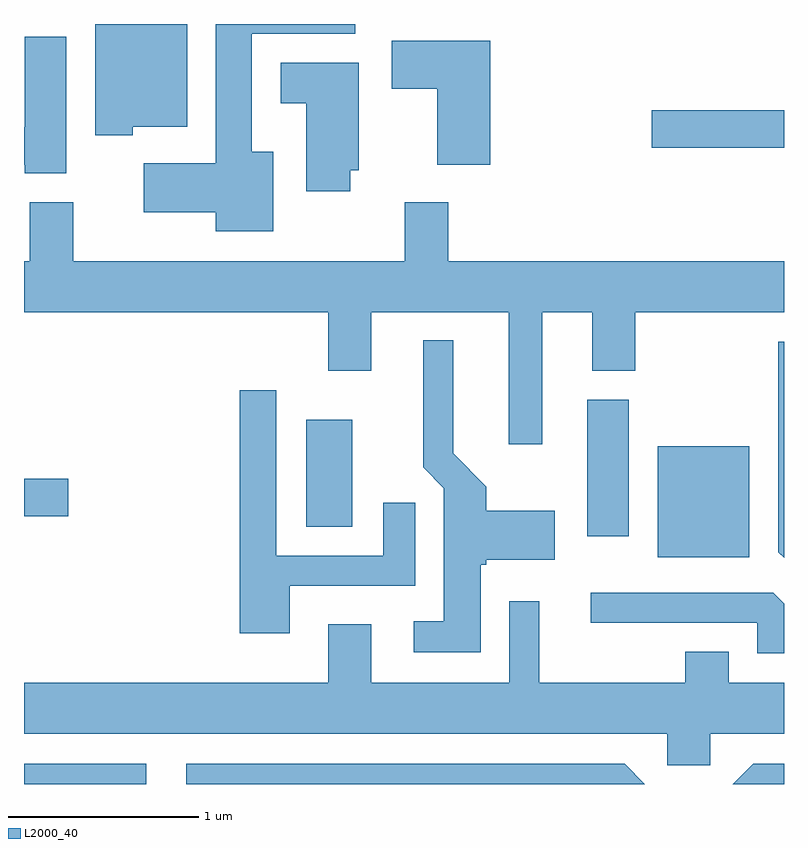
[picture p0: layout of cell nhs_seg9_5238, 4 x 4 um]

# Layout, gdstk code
import gdstk
lib = gdstk.Library(unit=1e-6, precision=1e-09)
def R(c, l, rs):  # rectangles x0, y0, x1, y1
    for r in rs: c.add(gdstk.rectangle(r[:2], r[2:], *l))
def P(c, l, *ps):  # polygons
    for p in ps: c.add(gdstk.Polygon(p, *l))
L2000_40 = (2000, 40)

nhs_seg9_5238 = lib.new_cell('nhs_seg9_5238')
R(nhs_seg9_5238, L2000_40, [(339.611,2000.432,340.254,2000.539), (342.946,2001.626,343.429,2002.209), (342.576,2001.736,342.794,2002.454), (341.096,2001.786,341.339,2002.349), (339.611,2001.841,339.844,2002.039), (342.916,2003.781,343.611,2003.979)])
P(nhs_seg9_5238, L2000_40, [(340.184,2003.891),(340.469,2003.891),(340.469,2004.432),(339.986,2004.432),(339.986,2003.846),(340.184,2003.846)],
  [(340.924,2003.759),(340.809,2003.759),(340.809,2004.381),(341.354,2004.381),(341.354,2004.432),(340.621,2004.432),(340.621,2003.699),(340.241,2003.699),(340.241,2003.441),(340.621,2003.441),(340.621,2003.341),(340.924,2003.341)],
  [(339.834,2004.364),(339.616,2004.364),(339.616,2003.889),(339.611,2003.889),(339.611,2003.691),(339.616,2003.691),(339.616,2003.646),(339.834,2003.646)],
  [(342.064,2004.344),(341.546,2004.344),(341.546,2004.091),(341.786,2004.091),(341.786,2003.691),(342.064,2003.691)],
  [(341.329,2003.661),(341.374,2003.661),(341.374,2004.229),(340.961,2004.229),(340.961,2004.016),(341.096,2004.016),(341.096,2003.551),(341.329,2003.551)],
  [(342.339,2002.916),(342.601,2002.916),(342.601,2002.606),(342.829,2002.606),(342.829,2002.916),(343.611,2002.916),(343.611,2003.184),(341.844,2003.184),(341.844,2003.494),(341.616,2003.494),(341.616,2003.184),(339.869,2003.184),(339.869,2003.494),(339.641,2003.494),(339.641,2003.184),(339.611,2003.184),(339.611,2002.916),(341.211,2002.916),(341.211,2002.606),(341.439,2002.606),(341.439,2002.916),(342.161,2002.916),(342.161,2002.221),(342.339,2002.221)],
  [(342.014,2001.586),(342.044,2001.586),(342.044,2001.611),(342.404,2001.611),(342.404,2001.869),(342.044,2001.869),(342.044,2001.997),(341.869,2002.172),(341.869,2002.768),(341.711,2002.768),(341.711,2002.099),(341.821,2001.989),(341.821,2001.289),(341.663,2001.289),(341.663,2001.126),(342.014,2001.126)],
  [(343.611,2002.759),(343.581,2002.759),(343.581,2001.652),(343.611,2001.622)],
  [(341.009,2001.476),(341.669,2001.476),(341.669,2001.913),(341.501,2001.913),(341.501,2001.634),(340.939,2001.634),(340.939,2002.504),(340.746,2002.504),(340.746,2001.226),(341.009,2001.226)],
  [(343.611,2001.382),(343.554,2001.439),(342.593,2001.439),(342.593,2001.281),(343.471,2001.281),(343.471,2001.121),(343.611,2001.121)],
  [(343.224,2000.696),(343.611,2000.696),(343.611,2000.964),(343.319,2000.964),(343.319,2001.129),(343.091,2001.129),(343.091,2000.964),(342.324,2000.964),(342.324,2001.393),(342.166,2001.393),(342.166,2000.964),(341.439,2000.964),(341.439,2001.274),(341.211,2001.274),(341.211,2000.964),(339.611,2000.964),(339.611,2000.696),(342.996,2000.696),(342.996,2000.531),(343.224,2000.531)],
  [(343.611,2000.539),(343.449,2000.539),(343.342,2000.432),(343.611,2000.432)],
  [(342.772,2000.539),(340.466,2000.539),(340.466,2000.432),(342.879,2000.432)])

lib.write_gds('nhs_seg9_5238.gds')
